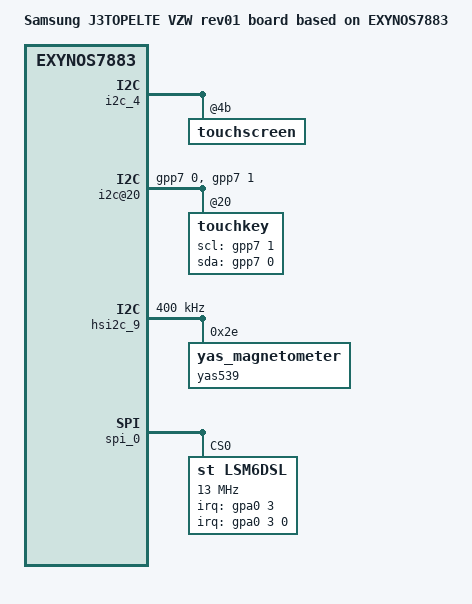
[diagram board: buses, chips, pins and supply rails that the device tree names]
/*
 * SAMSUNG UNIVERSAL7885 board device tree source
 *
 * Copyright (c) 2013 Samsung Electronics Co., Ltd.
 *		http://www.samsung.com
 *
 * This program is free software; you can redistribute it and/or modify
 * it under the terms of the GNU General Public License version 2 as
 * published by the Free Software Foundation.
*/

/dts-v1/;
#include "exynos7883-j3topelte_common.dtsi"
#include "exynos7883-j3topelte_usa_gpio_01.dtsi"
//#include "exynos7883-j3topelte_svcled.dtsi"

/ {
	model = "Samsung J3TOPELTE VZW rev01 board based on EXYNOS7883";
	model_info-chip = <7885>;
	model_info-platform = "android";
	model_info-subtype = "samsung";
	model_info-hw_rev = <1>;
	model_info-hw_rev_end = <255>;
	compatible = "samsung, J3TOPELTE VZW rev01", "samsung,Universal7883";

	i2c_4:i2c@13870000 {
		touchscreen@4b {
			synaptics,project_name = "J3y","J337";
			synaptics,firmware_name = "tsp_synaptics/td4100_j3y17.fw";
			synaptics,firmware_name_bl = "tsp_synaptics/td4100_j3y17.fw";
		};
	};

	i2c@20 {
		gpios = <&gpp7 0 0
				&gpp7 1 0>;
		touchkey@20 {
			coreriver,scl-gpio = <&gpp7 1 0>;
			coreriver,sda-gpio = <&gpp7 0 0>;
			coreriver,fw_name = "coreriver/tc350k_j3top.fw";
		};
	};

	pinctrl@139B0000 {
		cfg_i2c: cfg-i2c {
			samsung,pins = "gpp7-1", "gpp7-0";
			samsung,pin-function = <2>;
			samsung,pin-pud = <0>;
			samsung,pin-drv = <0>;
		};
		cfg_gpio: cfg-gpio {
			samsung,pins = "gpp7-1", "gpp7-0";
			samsung,pin-function = <0>;
			samsung,pin-pud = <0>;
			samsung,pin-drv = <0>;
		};
	};

	hsi2c_9: hsi2c@13990000 {
		status = "okay";
		#address-cells = <1>;
		#size-cells = <0>;
		clock-frequency = <400000>;
		pinctrl-names = "default";
		pinctrl-0 = <&sensor_en &hs_i2c9_bus>;

		yas539@2e {
			compatible = "yas_magnetometer";
			reg = <0x2e>;
			yas,orientation = <7>;
			yas,softiron = <10000 0 0 0 10000 0 0 0 10000>;
			yas,softiron_sign = <2 0 0 0 2 0 0 0 2>;
		};
	};
	
	spi_0: spi@13900000 {
		status = "okay";
		pinctrl-names = "default";
		pinctrl-0 = <&spi0_bus_acc>;

		lsm6dsl@0 {
			compatible = "st,lsm6dsl";
			reg = <0>;
			spi-max-frequency = <13000000>;
			gpio-controller;
			#gpio-cells = <2>;
			pinctrl-names = "default";
			pinctrl-0 = <&acc_int>;
			interrupt-parent = <&gpa0>;
			interrupts = <3 0 0>;
			st,irq_gpio = <&gpa0 3 0>;
			st,orientation = <1 2 1 2 1 1 1 1 0>;
			controller-data {
				samsung,spi-feedback-delay = <0>;
				samsung,spi-chip-select-mode = <0>;
			};
		};
	};
};

